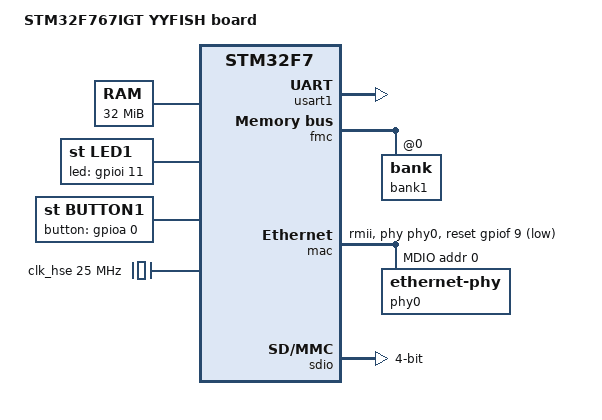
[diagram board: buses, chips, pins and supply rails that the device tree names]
/*
 * Copyright 2016 - Vikas Manocha <vikas.manocha@st.com>
 *
 * This file is dual-licensed: you can use it either under the terms
 * of the GPL or the X11 license, at your option. Note that this dual
 * licensing only applies to this file, and not this project as a
 * whole.
 *
 *  a) This file is free software; you can redistribute it and/or
 *     modify it under the terms of the GNU General Public License as
 *     published by the Free Software Foundation; either version 2 of the
 *     License, or (at your option) any later version.
 *
 *     This file is distributed in the hope that it will be useful,
 *     but WITHOUT ANY WARRANTY; without even the implied warranty of
 *     MERCHANTABILITY or FITNESS FOR A PARTICULAR PURPOSE.  See the
 *     GNU General Public License for more details.
 *
 * Or, alternatively,
 *
 *  b) Permission is hereby granted, free of charge, to any person
 *     obtaining a copy of this software and associated documentation
 *     files (the "Software"), to deal in the Software without
 *     restriction, including without limitation the rights to use,
 *     copy, modify, merge, publish, distribute, sublicense, and/or
 *     sell copies of the Software, and to permit persons to whom the
 *     Software is furnished to do so, subject to the following
 *     conditions:
 *
 *     The above copyright notice and this permission notice shall be
 *     included in all copies or substantial portions of the Software.
 *
 *     THE SOFTWARE IS PROVIDED "AS IS", WITHOUT WARRANTY OF ANY KIND,
 *     EXPRESS OR IMPLIED, INCLUDING BUT NOT LIMITED TO THE WARRANTIES
 *     OF MERCHANTABILITY, FITNESS FOR A PARTICULAR PURPOSE AND
 *     NONINFRINGEMENT. IN NO EVENT SHALL THE AUTHORS OR COPYRIGHT
 *     HOLDERS BE LIABLE FOR ANY CLAIM, DAMAGES OR OTHER LIABILITY,
 *     WHETHER IN AN ACTION OF CONTRACT, TORT OR OTHERWISE, ARISING
 *     FROM, OUT OF OR IN CONNECTION WITH THE SOFTWARE OR THE USE OR
 *     OTHER DEALINGS IN THE SOFTWARE.
 */

/dts-v1/;
#include "stm32f746.dtsi"
#include <dt-bindings/memory/stm32-sdram.h>
#include <dt-bindings/gpio/gpio.h>
#include <dt-bindings/memory/stm32-nand.h>

/ {
	model = "STM32F767IGT YYFISH board";
	compatible = "st,stm32f769-disco", "st,stm32f7", "ys,yyfish";

	chosen {
		bootargs = "root=/dev/ram rdinit=/linuxrc";
		stdout-path = "serial0:115200n8";
	};

	memory {
		reg = <0xC0000000 0x2000000>;
	};

	aliases {
		serial0 = &usart1;
		spi0 = &qspi;
		mmc0 = &sdio;
		/* Aliases for gpios so as to use sequence */
		gpio0 = &gpioa;
		gpio1 = &gpiob;
		gpio2 = &gpioc;
		gpio3 = &gpiod;
		gpio4 = &gpioe;
		gpio5 = &gpiof;
		gpio6 = &gpiog;
		gpio7 = &gpioh;
		gpio8 = &gpioi;
		gpio9 = &gpioj;
		gpio10 = &gpiok;
	};

	led1 {
		compatible = "st,led1";
		led-gpio = <&gpioi 11 0>;
	};

	button1 {
		compatible = "st,button1";
		button-gpio = <&gpioa 0 0>;
	};
    
};

&clk_hse {
	clock-frequency = <25000000>;
};

&pinctrl {
	usart1_pins_a: usart1@0	{
		pins1 {
		       pinmux = <STM32F746_PA9_FUNC_USART1_TX>;
				bias-disable;
				drive-push-pull;
				slew-rate = <2>;
		};
		pins2 {
			pinmux = <STM32F746_PA10_FUNC_USART1_RX>;
			bias-disable;
		};
	};

	ethernet_mii: mii@0 {
	      pins {
		      pinmux = <STM32F746_PG13_FUNC_ETH_MII_TXD0_ETH_RMII_TXD0>,
			     <STM32F746_PG14_FUNC_ETH_MII_TXD1_ETH_RMII_TXD1>,
			     <STM32F746_PB11_FUNC_ETH_MII_TX_EN_ETH_RMII_TX_EN>,
			     <STM32F746_PA2_FUNC_ETH_MDIO>,
			     <STM32F746_PC1_FUNC_ETH_MDC>,
			     <STM32F746_PA1_FUNC_ETH_MII_RX_CLK_ETH_RMII_REF_CLK>,
			     <STM32F746_PA7_FUNC_ETH_MII_RX_DV_ETH_RMII_CRS_DV>,
			     <STM32F746_PC4_FUNC_ETH_MII_RXD0_ETH_RMII_RXD0>,
			     <STM32F746_PC5_FUNC_ETH_MII_RXD1_ETH_RMII_RXD1>;
		      slew-rate = <2>;
	      };
	};

	qspi_pins: qspi@0 {
		pins {
			pinmux = <STM32F746_PB2_FUNC_QUADSPI_CLK>,
			       <STM32F746_PB6_FUNC_QUADSPI_BK1_NCS>,
			       <STM32F746_PC9_FUNC_QUADSPI_BK1_IO0>,
			       <STM32F746_PC10_FUNC_QUADSPI_BK1_IO1>,
			       <STM32F746_PD13_FUNC_QUADSPI_BK1_IO3>,
			       <STM32F746_PE2_FUNC_QUADSPI_BK1_IO2>;
			slew-rate = <2>;
		};
	};

	fmc_pins: fmc@0 {
		  pins {
			  pinmux = 
				 <STM32F746_PD10_FUNC_FMC_D15>,
				 <STM32F746_PD9_FUNC_FMC_D14>,
				 <STM32F746_PD8_FUNC_FMC_D13>,
				 <STM32F746_PE15_FUNC_FMC_D12>,
				 <STM32F746_PE14_FUNC_FMC_D11>,
				 <STM32F746_PE13_FUNC_FMC_D10>,
				 <STM32F746_PE12_FUNC_FMC_D9>,
				 <STM32F746_PE11_FUNC_FMC_D8>,
				 <STM32F746_PE10_FUNC_FMC_D7>,
				 <STM32F746_PE9_FUNC_FMC_D6>,
				 <STM32F746_PE8_FUNC_FMC_D5>,
				 <STM32F746_PE7_FUNC_FMC_D4>,
				 <STM32F746_PD1_FUNC_FMC_D3>,
				 <STM32F746_PD0_FUNC_FMC_D2>,
				 <STM32F746_PD15_FUNC_FMC_D1>,
				 <STM32F746_PD14_FUNC_FMC_D0>,

				 <STM32F746_PE1_FUNC_FMC_NBL1>,
				 <STM32F746_PE0_FUNC_FMC_NBL0>,
				 
				 <STM32F746_PD12_FUNC_FMC_A17_FMC_ALE>,
                 <STM32F746_PD11_FUNC_FMC_A16_FMC_CLE>,
                 <STM32F746_PD5_FUNC_FMC_NWE>,
                 <STM32F746_PD4_FUNC_FMC_NOE>,
                 <STM32F746_PD6_FUNC_FMC_NWAIT>,
                 <STM32F746_PG9_FUNC_FMC_NE2_FMC_NCE>,
                 
                 <STM32F746_PG5_FUNC_FMC_A15_FMC_BA1>,
				 <STM32F746_PG4_FUNC_FMC_A14_FMC_BA0>,

				 <STM32F746_PG2_FUNC_FMC_A12>,
				 <STM32F746_PG1_FUNC_FMC_A11>,
				 <STM32F746_PG0_FUNC_FMC_A10>,
				 <STM32F746_PF15_FUNC_FMC_A9>,
				 <STM32F746_PF14_FUNC_FMC_A8>,
				 <STM32F746_PF13_FUNC_FMC_A7>,
				 <STM32F746_PF12_FUNC_FMC_A6>,
				 <STM32F746_PF5_FUNC_FMC_A5>,
				 <STM32F746_PF4_FUNC_FMC_A4>,
				 <STM32F746_PF3_FUNC_FMC_A3>,
				 <STM32F746_PF2_FUNC_FMC_A2>,
				 <STM32F746_PF1_FUNC_FMC_A1>,
				 <STM32F746_PF0_FUNC_FMC_A0>,

				 <STM32F746_PC2_FUNC_FMC_SDNE0>,
				 <STM32F746_PC0_FUNC_FMC_SDNWE>,
				 <STM32F746_PF11_FUNC_FMC_SDNRAS>,
				 <STM32F746_PG15_FUNC_FMC_SDNCAS>,
				 <STM32F746_PC3_FUNC_FMC_SDCKE0>,
				 <STM32F746_PG8_FUNC_FMC_SDCLK>;
			  slew-rate = <2>;
		  };
	  };
      
    mmc0_pins_b: sdio_pins_b@0 {
        pins {
            pinmux = <STM32F746_PC8_FUNC_SDMMC1_D0>,
                 <STM32F746_PC9_FUNC_SDMMC1_D1>,
                 <STM32F746_PC10_FUNC_SDMMC1_D2>,
                 <STM32F746_PC11_FUNC_SDMMC1_D3>,
                 <STM32F746_PC12_FUNC_SDMMC1_CK>,
                 <STM32F746_PD2_FUNC_SDMMC1_CMD>;
            drive-push-pull;
            slew-rate = <2>;
        };
    };
    
    mmc0_pins_od_b: sdio_pins_od_b@0 {
        pins1 {
            pinmux = <STM32F746_PC8_FUNC_SDMMC1_D0>,
                 <STM32F746_PC9_FUNC_SDMMC1_D1>,
                 <STM32F746_PC10_FUNC_SDMMC1_D2>,
                 <STM32F746_PC11_FUNC_SDMMC1_D3>,
                 <STM32F746_PC12_FUNC_SDMMC1_CK>;
            drive-push-pull;
            slew-rate = <2>;
        };
    
        pins2 {
            pinmux = <STM32F746_PD2_FUNC_SDMMC1_CMD>;
            drive-open-drain;
            slew-rate = <2>;
        };
    };
};

&usart1 {
	pinctrl-0 = <&usart1_pins_a>;
	pinctrl-names = "default";
	status = "okay";
};

&fmc {
	pinctrl-0 = <&fmc_pins>;
	pinctrl-names = "default";
	status = "okay";
    #address-cells = <1>;
    #size-cells = <1>;

	/* Memory configuration from sdram datasheet MT48LC_4M32_B2B5-6A */
	bank1: bank@0 {
	       st,sdram-control = /bits/ 8 <NO_COL_9 NO_ROW_13 MWIDTH_16 BANKS_4
	       				    CAS_3 SDCLK_2 RD_BURST_EN
					    RD_PIPE_DL_1>;
	       st,sdram-timing = /bits/ 8 <TMRD_2 TXSR_8 TRAS_7 TRC_7 TWR_2
	       				   TRP_2 TRCD_2>;
		/* refcount = (64msec/total_row_sdram)*freq - 20 */
	       st,sdram-refcount = < 761 >;
       };
};

//    bank3: stm32_nand@1 {
//        reg = <0xA0000080 0x20>;
        /* Baseaddr cmdaddr dataaddr*/
//        st,nand-ranges = /bits/ 32 <0x80000000 0x00010000 0x00020000>;
        /*Nand flash configuretion from flash datasheet MT29F4G08ABADA*/
//        compatible = "micron,mt29f4g", "st,nand-flash";
//        st,nand-control = /bits/ 8 <FMC_PWAIT_DIS FMC_PWID_8 FMC_ECC_DIS 
//            FMC_TCLR_6 FMC_TAR_6 FMC_ECCPS_512>;
//        st,nand-timing = /bits/ 8 <MEMSET_VALE_2 MEMWAIT_VALE_4 MEMHOLD_VALE_2
 //           MEMHIZ_VALE_2>;
 //       u-boot,dm-pre-reloc;
 //   };

&mac {
	status = "okay";
	pinctrl-0 = <&ethernet_mii>;
	phy-mode = "rmii";
	phy-handle = <&phy0>;
    snps,reset-gpio = <&gpiof 9 1>; /*PF9<-->ETH_RESET*/
    snps,reset-active-low;
    snps,reset-delays-us = <100000 100000 100000>;
    snps,mixed-burst;
    snps,multicast-filter-bins = <256>;
    snps,perfect-filter-entries = <128>;
    
	mdio0 {
		#address-cells = <1>;
		#size-cells = <0>;
		compatible = "snps,dwmac-mdio";
		phy0: ethernet-phy@0 {
			reg = <0>;
		};
	};
};

&qspi {
	pinctrl-0 = <&qspi_pins>;
	status = "disable";

	qflash0: n25q128a {
			#address-cells = <1>;
			#size-cells = <1>;
			compatible = "micron,n25q128a13", "spi-flash";
			spi-max-frequency = <108000000>;
			spi-tx-bus-width = <1>;
			spi-rx-bus-width = <1>;
			memory-map = <0x90000000 0x1000000>;
			reg = <0>;
	};
};


&sdio {
	status = "okay";
	pinctrl-names = "default", "opendrain";
	pinctrl-0 = <&mmc0_pins_b>;
	pinctrl-1 = <&mmc0_pins_od_b>;
	bus-width = <4>;
	max-frequency = <25000000>;
};
